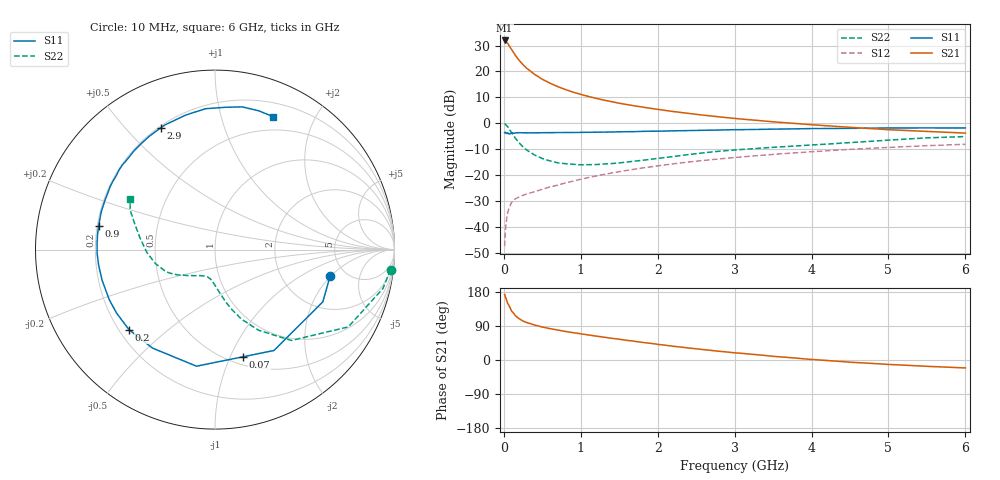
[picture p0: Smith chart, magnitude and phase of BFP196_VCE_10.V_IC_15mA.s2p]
! (c) 2017  Infineon Technologies AG, Munich
! Infineon Technologies  Discrete & RF Semiconductors
! BFP196
! VCE =  10. V,  IC =  15 mA
! Common Emitter S-Parameters:  Jan 2017
# GHz  S  MA  R  50
!  f  S11  S21  S12  S22
! GHz  MAG  ANG  MAG  ANG  MAG  ANG  MAG  ANG
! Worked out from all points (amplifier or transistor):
!   77 points, 10 MHz to 6 GHz, reference 50 ohm
!   highest |S21| = 32.0 dB at 10 MHz (marker M1)
!   |S21| within 3 dB of that: start of sweep to 89.59 MHz
!   unconditionally stable (mu >= 1): 884.7 MHz to 2.354 GHz
!   at 130 MHz: K = 0.30, MSG = 28.5 dB, |S12| = -29.8 dB
!   at 2.2 GHz: K = 1.02, MAG = 9.4 dB, |S12| = -15.7 dB
!   at 6 GHz: K = 0.90, MSG = 2.2 dB, |S12| = -8.1 dB
!   S11 on the Smith chart (normalised r, x): 10 MHz: 3.75, -1.97; 70 MHz: 0.58, -1.12; 200 MHz: 0.24, -0.37; 900 MHz: 0.21, +0.10; 2.9 GHz: 0.21, +0.63; 6 GHz: 0.34, +1.47
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0.01  0.6579 -13.1  39.69 173.2  0.0042 81.2  0.9844 -6.5
0.02  0.6676 -25.8  39.35 166.8  0.0084 79.7  0.9601 -13.1
0.05  0.6511 -59.7  34.88 149.4  0.0189 65.2  0.8585 -30.1
0.07  0.6172 -75.4  31.18 142.6  0.0229 58.4  0.7694 -36.8
0.1  0.6577 -99.0  26.73 129.2  0.0293 51.8  0.6617 -49.9
0.15  0.6499 -122.4  20.45 116.9  0.0346 44.5  0.5112 -61.6
0.2  0.6546 -137.0  16.31 108.8  0.0375 42.1  0.415 -69.1
0.25  0.6526 -147.3  13.45 102.8  0.0405 41.0  0.3487 -74.1
0.3  0.6519 -154.6  11.41 98.6  0.043 41.4  0.3003 -78.2
0.4  0.6519 -164.9  8.747 92.0  0.0474 44.4  0.2417 -83.9
0.5  0.6542 -172.5  7.054 87.0  0.0528 46.6  0.2078 -88.5
0.6  0.6571 -178.2  5.926 82.7  0.0588 48.5  0.1863 -92.6
0.7  0.6579 177.1  5.093 79.1  0.0633 50.6  0.1714 -95.9
0.9  0.6613 168.6  3.979 72.2  0.0758 53.1  0.1606 -102.8
1.1  0.6678 161.6  3.284 66.1  0.089 54.5  0.1579 -109.0
1.5  0.6811 149.2  2.43 54.7  0.1155 54.3  0.1707 -122.1
2.1  0.705 132.1  1.763 39.0  0.1565 51.3  0.2174 -138.7
2.9  0.7429 113.8  1.28 21.1  0.2104 44.0  0.2955 -155.3
3.1  0.7508 109.7  1.199 17.4  0.2233 41.8  0.311 -159.4
4.1  0.7872 92.2  0.913 0.1  0.2866 31.2  0.3867 -179.9
5.1  0.8089 77.9  0.737 -12.6  0.3455 19.6  0.4798 160.6
6  0.8088 66.4  0.643 -21.0  0.3915 9.1  0.5511 149.3
